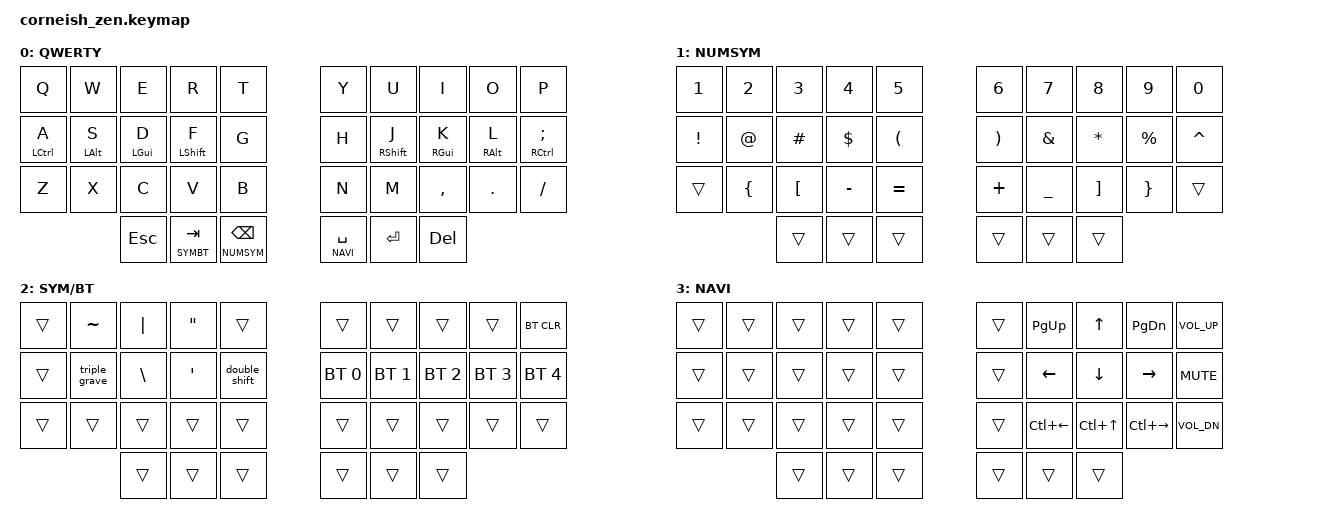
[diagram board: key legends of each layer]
/*
*
* Copyright (c) 2021 Darryl deHaan
* SPDX-License-Identifier: MIT
*
*/

#include <behaviors.dtsi>
#include <dt-bindings/zmk/keys.h>
#include <dt-bindings/zmk/bt.h>

#define DEFAULT 0
#define NUMSYM 1
#define SYMBT 2
#define NAVI 3

/ {
  chosen {
    //zmk,matrix_transform = &default_transform;
    zmk,matrix_transform = &five_column_transform;
  };
};

/ {

  macros {
        triple_grave: triple_grave {
        label = "triple_grave";
        compatible = "zmk,behavior-macro";
        #binding-cells = <0>;
        bindings
            = <&macro_tap &kp GRAVE &kp GRAVE &kp GRAVE>;
        };

        double_shift: double_shift {
        label = "double_shift";
        compatible = "zmk,behavior-macro";
        #binding-cells = <0>;
        bindings
            =<&macro_tap &kp LSHFT>
            ,<&macro_wait_time 20>
            ,<&macro_tap &kp LSHFT>;
        };
    };
};

/ {
    behaviors {
        hm: homerow_mods {
        compatible = "zmk,behavior-hold-tap";
        label = "HOMEROW_MODS";
        #binding-cells = <2>;
        tapping-term-ms = <150>;
        quick-tap-ms = <0>;
        flavor = "tap-preferred";
        bindings = <&kp>, <&kp>;
        };
    };
};

/ {
        keymap {
                compatible = "zmk,keymap";

                default_layer {
                        label = "QWERTY";
// -----------------------------------------------------------------------------------------
// |  Q  |  W  |  E  |  R  |  T  |   |  Y  |  U   |  I  |  O  |  P  |
// |  A  |  S  |  D  |  F  |  G  |   |  H  |  J   |  K  |  L  |  ;  |
// |  Z  |  X  |  C  |  V  |  B  |   |  N  |  M   |  ,  |  .  |  /  |
//            | ESC | TAB | BSPC |   | SPACE | ENTER  | DEL |
                        bindings = <
   &kp Q &kp W &kp E &kp R &kp T   &kp Y &kp U  &kp I     &kp O   &kp P    
   &hm LCTL A &hm LALT S &hm LGUI D &hm LSHFT F &kp G   &kp H &hm RSHFT J &hm RGUI K   &hm RALT L  &hm RCTL SEMI
   &kp Z &kp X &kp C &kp V &kp B   &kp N &kp M  &kp COMMA &kp DOT &kp FSLH
                  &kp ESC &lt SYMBT TAB &lt NUMSYM BSPC   &lt NAVI SPACE &kp ENTER &kp DEL
                        >;
                };

                num_sym_layer {
                        label = "NUMSYM";
// -----------------------------------------------------------------------------------------
// |  1  |  2  |  3  |  4  |  5  |   |  6  |  7  |  8  |  9  |  0  |
// |  !  |  @  |  #  |  $  |  (  |   |  )  |  &  |  *  |  %  |  ^  |
// |     |  {  |  [  |  -  |  =  |   |  +  |  _  |  ]  |  }  |     |
//             |     |     |     |   |     |     |     |
                        bindings = <
   &kp N1   &kp N2   &kp N3   &kp N4   &kp N5   &kp N6   &kp N7   &kp N8   &kp N9   &kp N0 
   &kp EXCL &kp AT &kp HASH &kp DLLR &kp LPAR &kp RPAR &kp AMPS &kp STAR &kp PRCNT &kp CARET
   &trans   &kp LBRC   &kp LBKT   &kp MINUS   &kp EQUAL   &kp PLUS   &kp UNDER   &kp RBKT   &kp RBRC   &trans
                &trans    &trans       &trans      &trans  &trans   &trans
                        >;
                };

                sym_bt_layer {
                        label = "SYM/BT";
// -----------------------------------------------------------------------------------------
// |     |  ~  | "|" |  "  |      |   |     |     |     |     |BTCLR|
// |     | ``` |  \  |  '  |2xSHFT|   | BT1 | BT2 | BT3 | BT4 | BT5 |
// |     |     |     |     |      |   |     |     |     |     |     |
//             |     |     |      |   |     |     |     |
                        bindings = <
   &trans &kp TILDE &kp PIPE &kp DQT &trans &trans &trans  &trans &trans &bt BT_CLR
   &trans &triple_grave &kp BSLH &kp SQT &double_shift     &bt BT_SEL 0 &bt BT_SEL 1 &bt BT_SEL 2  &bt BT_SEL 3 &bt BT_SEL 4
  &trans   &trans &trans   &trans   &trans      &trans &trans  &trans     &trans &trans
                    &trans &trans   &trans   &trans   &trans    &trans
                        >;
                };

                nav_layer {
                        label = " NAVI ";
// -----------------------------------------------------------------------------------------
// |     |     |     |     |     |   |     |     |PG_UP|  UP |PG_DOWN|VOL_UP|
// |     |     |     |     |     |   |     |     |LEFT |DOWN |RIGHT |MUTE |
// |     |     |     |     |     |   |     |     |LC(LEFT)| LC(UP) |LC(RIGHT)|VOL_DOWN|
//                    |     |     |     |   |     |     |     |
                        bindings = <
   &trans &trans &trans &trans &trans            &trans &kp PG_UP  &kp UP &kp PG_DN &kp C_VOL_UP
   &trans   &trans &trans   &trans   &trans      &trans &kp LEFT &kp DOWN  &kp RIGHT &kp C_MUTE
  &trans   &trans &trans   &trans   &trans       &trans &kp LC(LEFT)  &kp LC(UP) &kp LC(RIGHT) &kp C_VOL_DN
                    &trans &trans   &trans   &trans   &trans    &trans
                        >;
                };
        };
};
